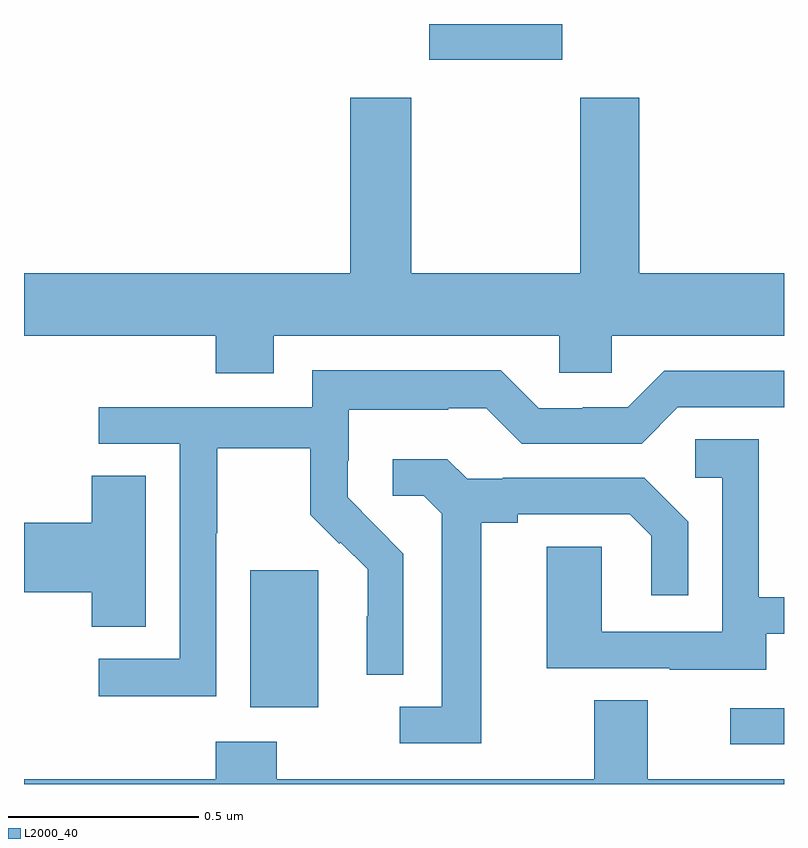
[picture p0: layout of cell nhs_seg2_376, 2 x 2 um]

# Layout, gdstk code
import gdstk
lib = gdstk.Library(unit=1e-6, precision=1e-09)
def R(c, l, rs):  # rectangles x0, y0, x1, y1
    for r in rs: c.add(gdstk.rectangle(r[:2], r[2:], *l))
def P(c, l, *ps):  # polygons
    for p in ps: c.add(gdstk.Polygon(p, *l))
L2000_40 = (2000, 40)

nhs_seg2_376 = lib.new_cell('nhs_seg2_376')
R(nhs_seg2_376, L2000_40, [(116.859,635.904,117,636), (115.595,636.002,115.774,636.363), (116.066,637.706,116.416,637.8)])
P(nhs_seg2_376, L2000_40, [(115.657,636.98),(116.409,636.98),(116.409,636.882),(116.547,636.882),(116.547,636.98),(117,636.98),(117,637.144),(116.619,637.144),(116.619,637.606),(116.464,637.606),(116.464,637.144),(116.019,637.144),(116.019,637.606),(115.859,637.606),(115.859,637.144),(115,637.144),(115,636.98),(115.505,636.98),(115.505,636.881),(115.657,636.881)],
  [(115.506,636.46),(115.509,636.46),(115.509,636.684),(115.753,636.684),(115.753,636.509),(115.83,636.432),(115.833,636.435),(115.904,636.365),(115.904,636.242),(115.902,636.242),(115.902,636.088),(115.998,636.088),(115.998,636.406),(115.925,636.479),(115.926,636.48),(115.852,636.554),(115.852,636.651),(115.854,636.651),(115.854,636.785),(116.117,636.785),(116.117,636.789),(116.217,636.789),(116.31,636.696),(116.625,636.696),(116.721,636.792),(117,636.792),(117,636.888),(116.685,636.888),(116.589,636.792),(116.471,636.792),(116.471,636.789),(116.355,636.789),(116.255,636.889),(115.758,636.889),(115.758,636.792),(115.197,636.792),(115.197,636.696),(115.41,636.696),(115.41,636.129),(115.197,636.129),(115.197,636.031),(115.506,636.031)],
  [(116.953,636.195),(117,636.195),(117,636.291),(116.934,636.291),(116.934,636.707),(116.766,636.707),(116.766,636.606),(116.838,636.606),(116.838,636.201),(116.52,636.201),(116.52,636.425),(116.375,636.425),(116.375,636.105),(116.699,636.105),(116.699,636.101),(116.953,636.101)],
  [(116.203,636.488),(116.299,636.488),(116.299,636.51),(116.594,636.51),(116.651,636.453),(116.651,636.297),(116.748,636.297),(116.748,636.49),(116.632,636.606),(116.26,636.606),(116.26,636.603),(116.166,636.603),(116.114,636.655),(115.971,636.655),(115.971,636.558),(116.052,636.558),(116.099,636.511),(116.099,636.003),(115.989,636.003),(115.989,635.907),(116.203,635.907)],
  [(115.321,636.611),(115.178,636.611),(115.178,636.488),(115,636.488),(115,636.305),(115.178,636.305),(115.178,636.214),(115.321,636.214)],
  [(117,635.812),(116.641,635.812),(116.641,636.02),(116.501,636.02),(116.501,635.812),(115.665,635.812),(115.665,635.911),(115.505,635.911),(115.505,635.812),(115,635.812),(115,635.8),(117,635.8)])

lib.write_gds('nhs_seg2_376.gds')
